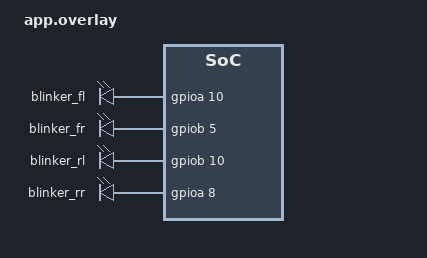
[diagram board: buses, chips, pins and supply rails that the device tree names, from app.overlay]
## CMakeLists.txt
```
cmake_minimum_required(VERSION 3.20.0)
find_package(Zephyr REQUIRED HINTS $ENV{ZEPHYR_BASE})
project(lab2)

FILE(GLOB app_sources src/*.c)
target_sources(app PRIVATE ${app_sources})
```

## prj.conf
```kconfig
CONFIG_SERIAL=y
CONFIG_SHELL=y
CONFIG_GPIO=y
```

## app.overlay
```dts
/ {
    aliases {
        blinker-fl = &blinker_fl;
        blinker-fr = &blinker_fr;
        blinker-rl = &blinker_rl;
        blinker-rr = &blinker_rr;
    };

    blinkers {
        compatible = "gpio-leds";

        blinker_fl: blinker_fl {
            gpios = <&gpioa 10 GPIO_ACTIVE_HIGH>;   /* D2 */
        };
        blinker_fr: blinker_fr {
            gpios = <&gpiob 5 GPIO_ACTIVE_HIGH>;    /* D4 */
        };
        blinker_rl: blinker_rl {
            gpios = <&gpiob 10 GPIO_ACTIVE_HIGH>;   /* D6 */
        };
        blinker_rr: blinker_rr {
            gpios = <&gpioa 8 GPIO_ACTIVE_HIGH>;    /* D7 */
        };
    };
};
```

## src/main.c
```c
#include <zephyr/kernel.h>
#include <stdio.h>
#include <zephyr/drivers/gpio.h>
#include "blinker.h"

#define SLEEP_TIME_MS   400



int main(void)
{
    printk("lab2 up\n");
    
	bool led_state = true;

    blinker_init(BLINKER_FL);




    while (1) {
        blinker_set(BLINKER_FL, led_state);
        printk("Toggling LED, in test mode\n");
		led_state = !led_state;
		k_msleep(SLEEP_TIME_MS);
	}

    return 0;
}
```
